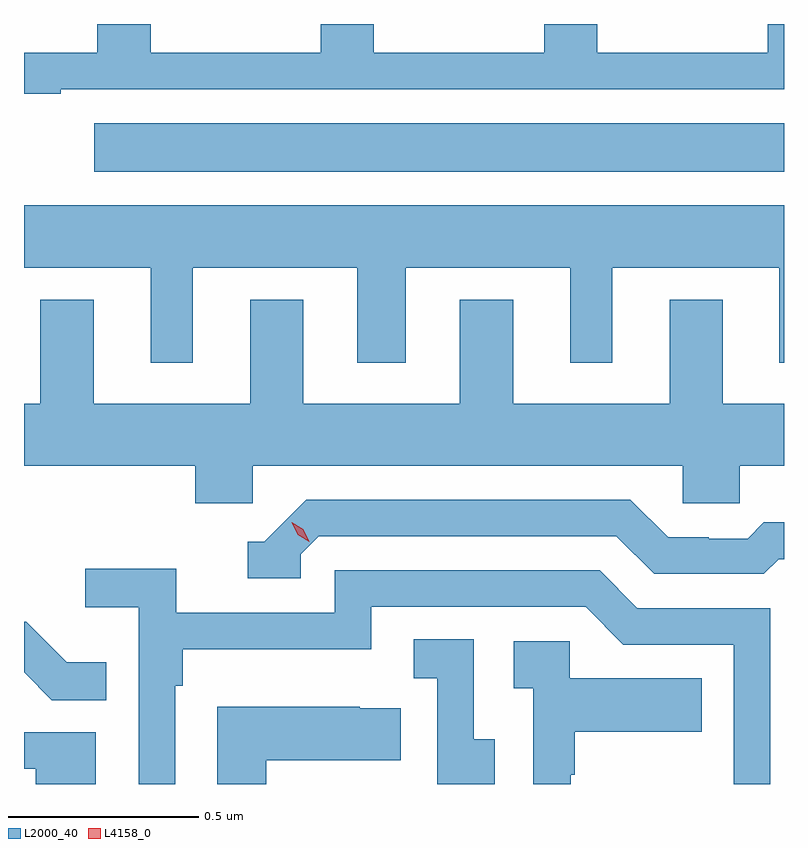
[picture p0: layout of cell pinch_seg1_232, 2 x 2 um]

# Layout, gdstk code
import gdstk
lib = gdstk.Library(unit=1e-6, precision=1e-09)
def R(c, l, rs):  # rectangles x0, y0, x1, y1
    for r in rs: c.add(gdstk.rectangle(r[:2], r[2:], *l))
def P(c, l, *ps):  # polygons
    for p in ps: c.add(gdstk.Polygon(p, *l))
L2000_40 = (2000, 40)
L4158_0 = (4158, 0)

pinch_seg1_232 = lib.new_cell('pinch_seg1_232')
R(pinch_seg1_232, L2000_40, [(983.775,568.49,985.59,568.618)])
P(pinch_seg1_232, L2000_40, [(983.687,568.707),(985.59,568.707),(985.59,568.879),(985.547,568.879),(985.547,568.803),(985.099,568.803),(985.099,568.879),(984.959,568.879),(984.959,568.803),(984.511,568.803),(984.511,568.879),(984.371,568.879),(984.371,568.803),(983.923,568.803),(983.923,568.879),(983.783,568.879),(983.783,568.803),(983.59,568.803),(983.59,568.695),(983.687,568.695)],
  [(984.034,568.238),(984.467,568.238),(984.467,567.987),(984.595,567.987),(984.595,568.238),(985.028,568.238),(985.028,567.987),(985.138,567.987),(985.138,568.238),(985.577,568.238),(985.577,567.987),(985.59,567.987),(985.59,568.402),(983.59,568.402),(983.59,568.238),(983.924,568.238),(983.924,567.987),(984.034,567.987)],
  [(984.192,567.716),(985.323,567.716),(985.323,567.618),(985.473,567.618),(985.473,567.716),(985.59,567.716),(985.59,567.88),(985.429,567.88),(985.429,568.153),(985.289,568.153),(985.289,567.88),(984.877,567.88),(984.877,568.153),(984.737,568.153),(984.737,567.88),(984.325,567.88),(984.325,568.153),(984.185,568.153),(984.185,567.88),(983.773,567.88),(983.773,568.153),(983.633,568.153),(983.633,567.88),(983.59,567.88),(983.59,567.716),(984.041,567.716),(984.041,567.618),(984.192,567.618)],
  [(984.318,567.483),(984.366,567.531),(985.149,567.531),(985.248,567.432),(985.537,567.432),(985.576,567.471),(985.59,567.471),(985.59,567.568),(985.537,567.568),(985.495,567.525),(985.392,567.525),(985.392,567.528),(985.285,567.528),(985.186,567.627),(984.333,567.627),(984.222,567.516),(984.179,567.516),(984.179,567.42),(984.318,567.42)],
  [(983.988,567.137),(984.008,567.137),(984.008,567.233),(984.504,567.233),(984.504,567.345),(985.068,567.345),(985.167,567.246),(985.458,567.246),(985.458,566.879),(985.554,566.879),(985.554,567.342),(985.204,567.342),(985.105,567.441),(984.408,567.441),(984.408,567.33),(983.99,567.33),(983.99,567.446),(983.751,567.446),(983.751,567.344),(983.892,567.344),(983.892,566.879),(983.988,566.879)],
  [(983.807,567.199),(983.703,567.199),(983.596,567.306),(983.59,567.306),(983.59,567.173),(983.663,567.1),(983.807,567.1)],
  [(984.829,566.997),(984.774,566.997),(984.774,567.26),(984.615,567.26),(984.615,567.157),(984.678,567.157),(984.678,566.879),(984.829,566.879)],
  [(985.029,566.903),(985.039,566.903),(985.039,567.017),(985.373,567.017),(985.373,567.157),(985.026,567.157),(985.026,567.255),(984.879,567.255),(984.879,567.131),(984.93,567.131),(984.93,566.879),(985.029,566.879)],
  [(984.228,566.942),(984.581,566.942),(984.581,567.079),(984.473,567.079),(984.473,567.082),(984.098,567.082),(984.098,566.879),(984.228,566.879)],
  [(983.779,567.015),(983.59,567.015),(983.59,566.919),(983.621,566.919),(983.621,566.879),(983.779,566.879)])
P(pinch_seg1_232, L4158_0, [(984.34,567.516),(984.31,567.535),(984.294,567.568),(984.294,567.568),(984.294,567.568),(984.325,567.549),(984.34,567.516),(984.34,567.516)])

lib.write_gds('pinch_seg1_232.gds')
